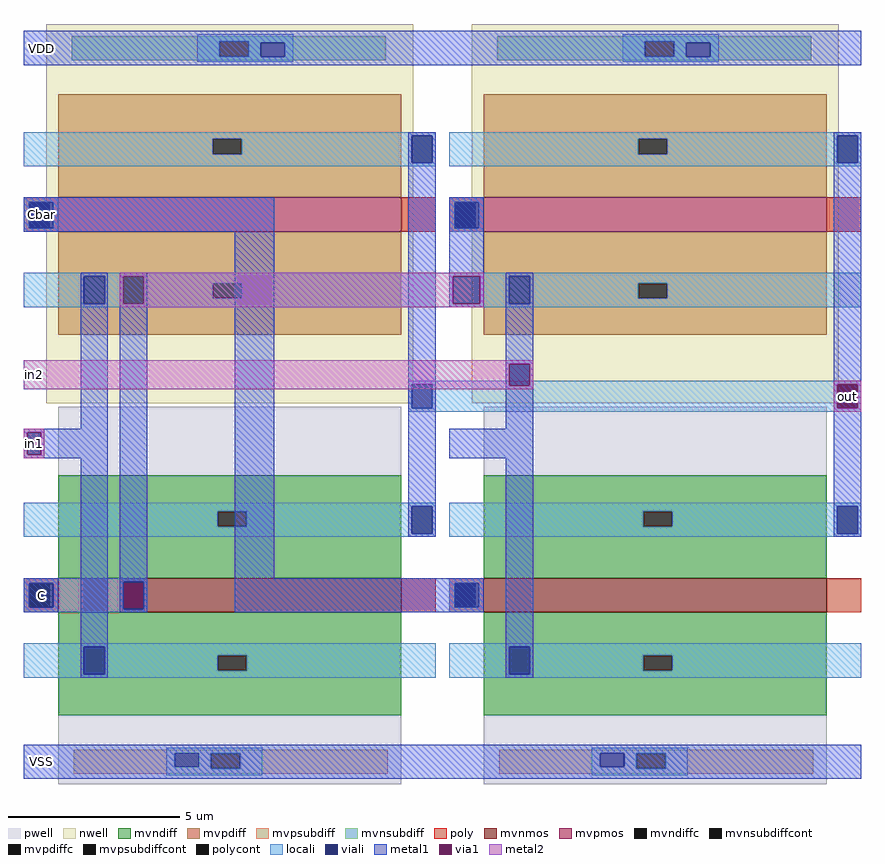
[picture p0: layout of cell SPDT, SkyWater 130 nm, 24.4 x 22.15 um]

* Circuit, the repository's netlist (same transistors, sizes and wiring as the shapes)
* SPICE3 file created from SPDT.ext - technology: sky130A

.subckt x5v_pfet_1_10 S G D B
X0 D G S B sky130_fd_pr__pfet_g5v0d10v5 ad=30 pd=26 as=30 ps=26 w=10 l=1
.ends

.subckt x5v_nfet_1_10 S G D B
X0 D G S B sky130_fd_pr__nfet_g5v0d10v5 ad=30 pd=26 as=30 ps=26 w=10 l=1
.ends

.subckt Tgate in out Cbar VDD VSS C
X5v_pfet_1_10_0 in Cbar out VDD x5v_pfet_1_10
X5v_nfet_1_10_0 out C in VSS x5v_nfet_1_10
.ends

.subckt SPDT in1 in2 out C Cbar VDD VSS
XTgate_0 in1 out Cbar VDD VSS C Tgate
XTgate_1 in2 out C VDD VSS Cbar Tgate
.ends

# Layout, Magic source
magic
tech sky130A
<< locali >>
rect 1120 1165 2440 1175
rect 1120 1095 1130 1165
rect 1190 1095 2370 1165
rect 2430 1095 2440 1165
rect 1120 1085 2440 1095
rect 0 590 360 600
rect 0 510 290 590
rect 350 510 360 590
rect 0 500 360 510
<< viali >>
rect 1130 1095 1190 1165
rect 2370 1095 2430 1165
rect 290 510 350 590
<< metal1 >>
rect 1145 2095 1325 2195
rect 0 1610 730 1710
rect 280 1480 360 1490
rect 280 1400 290 1480
rect 350 1400 360 1480
rect 280 590 360 1400
rect 280 510 290 590
rect 350 510 360 590
rect 280 500 360 510
rect 615 600 730 1610
rect 1240 1480 1340 1710
rect 1240 1400 1250 1480
rect 1330 1400 1340 1480
rect 1240 1390 1340 1400
rect 615 500 1340 600
rect 0 15 1325 115
<< via1 >>
rect 290 1400 350 1480
rect 10 960 50 1025
rect 1250 1400 1330 1480
rect 1415 1160 1475 1225
rect 2370 1095 2430 1165
<< metal2 >>
rect 280 1480 1340 1490
rect 280 1400 290 1480
rect 350 1400 1250 1480
rect 1330 1400 1340 1480
rect 280 1390 1340 1400
rect 0 1225 1485 1235
rect 0 1160 1415 1225
rect 1475 1160 1485 1225
rect 0 1150 1485 1160
rect 2360 1165 2440 1175
rect 2360 1095 2370 1165
rect 2430 1095 2440 1165
rect 2360 1085 2440 1095
rect 0 1025 60 1035
rect 0 960 10 1025
rect 50 960 60 1025
rect 0 950 60 960
use Tgate  Tgate_0
transform 1 0 0 0 1 0
box 0 0 1200 2215
use Tgate  Tgate_1
transform 1 0 1240 0 1 0
box 0 0 1200 2215
<< labels >>
rlabel metal2 0 950 60 1035 7 in1
port 1 w
rlabel metal2 0 1150 60 1235 7 in2
port 2 w
rlabel metal2 2360 1085 2440 1175 3 out
port 3 e
rlabel locali 0 500 100 600 7 C
port 4 w
rlabel metal1 0 1610 100 1710 7 Cbar
port 5 w
rlabel space 0 2095 100 2195 7 VDD
port 6 w
rlabel metal1 0 15 100 115 7 VSS
port 7 w
<< end >>

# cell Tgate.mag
magic
tech sky130A
<< polycont >>
rect 15 1620 75 1695
rect 15 515 75 585
<< locali >>
rect 0 1695 100 1710
rect 0 1620 15 1695
rect 85 1620 100 1695
rect 0 1610 100 1620
rect 0 585 100 600
rect 0 515 15 585
rect 85 515 100 585
rect 0 500 100 515
<< viali >>
rect 1130 1810 1190 1890
rect 15 1620 75 1695
rect 75 1620 85 1695
rect 175 1400 235 1480
rect 1130 730 1190 810
rect 15 515 75 585
rect 75 515 85 585
rect 175 320 235 400
<< metal1 >>
rect 1120 1890 1200 1900
rect 1120 1810 1130 1890
rect 1190 1810 1200 1890
rect 0 1695 100 1710
rect 0 1620 15 1695
rect 85 1620 100 1695
rect 0 1610 100 1620
rect 165 1480 245 1490
rect 165 1400 175 1480
rect 235 1400 245 1480
rect 165 1035 245 1400
rect 0 950 245 1035
rect 0 585 100 600
rect 0 515 15 585
rect 85 515 100 585
rect 0 500 100 515
rect 165 400 245 950
rect 1120 810 1200 1810
rect 1120 730 1130 810
rect 1190 730 1200 810
rect 1120 720 1200 730
rect 165 320 175 400
rect 235 320 245 400
rect 165 310 245 320
use 5v_nfet_1_10  5v_nfet_1_10_0
transform 0 1 100 -1 0 600
box -500 -100 600 1100
use 5v_pfet_1_10  5v_pfet_1_10_0
transform 0 -1 1100 1 0 1610
box -500 -100 605 1100
<< labels >>
rlabel metal1 0 950 70 1035 7 in
port 1 w
rlabel metal1 1120 945 1200 1030 3 out
port 2 e
rlabel metal1 0 500 85 600 7 C
port 3 w
rlabel metal1 0 1610 85 1710 7 Cbar
port 4 w
rlabel space 0 2095 85 2195 7 VDD
port 5 w
rlabel space 0 15 85 115 7 VSS
port 6 w
<< end >>

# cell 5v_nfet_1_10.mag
magic
tech sky130A
<< pwell >>
rect -500 0 600 1000
<< mvnmos >>
rect 0 0 100 1000
<< mvndiff >>
rect -300 550 0 1000
rect -300 465 -195 550
rect -150 465 0 550
rect -300 0 0 465
rect 100 550 400 1000
rect 100 465 225 550
rect 270 465 400 550
rect 100 0 400 465
<< mvndiffc >>
rect -195 465 -150 550
rect 225 465 270 550
<< mvpsubdiff >>
rect 500 530 570 960
rect 500 445 510 530
rect 555 445 570 530
rect 500 45 570 445
<< mvpsubdiffcont >>
rect 510 445 555 530
<< poly >>
rect 0 1000 100 1100
rect 0 -100 100 0
<< locali >>
rect -220 550 -120 1100
rect -220 465 -195 550
rect -150 465 -120 550
rect -220 -100 -120 465
rect 190 550 290 1100
rect 190 465 225 550
rect 270 465 290 550
rect 190 -100 290 465
rect 495 530 575 595
rect 495 445 510 530
rect 555 445 575 530
rect 495 410 575 445
rect 495 340 510 410
rect 550 340 575 410
rect 495 315 575 340
<< viali >>
rect 510 340 550 410
<< metal1 >>
rect 485 410 585 1100
rect 485 340 510 410
rect 550 340 585 410
rect 485 -100 585 340
<< labels >>
rlabel locali -185 1085 -185 1085 1 S
port 1 n
rlabel poly 50 1085 50 1085 1 G
port 2 n
rlabel locali 240 1070 240 1070 1 D
port 3 n
rlabel metal1 540 1070 540 1070 1 B
port 4 n
<< end >>

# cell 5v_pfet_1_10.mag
magic
tech sky130A
<< nwell >>
rect -500 -35 605 1035
<< mvpmos >>
rect 0 0 100 1000
<< mvpdiff >>
rect -300 550 0 1000
rect -300 465 -195 550
rect -150 465 0 550
rect -300 0 0 465
rect 100 550 400 1000
rect 100 465 225 550
rect 270 465 400 550
rect 100 0 400 465
<< mvpdiffc >>
rect -195 465 -150 550
rect 225 465 270 550
<< mvnsubdiff >>
rect 500 530 570 960
rect 500 445 510 530
rect 555 445 570 530
rect 500 45 570 445
<< mvnsubdiffcont >>
rect 510 445 555 530
<< poly >>
rect 0 1000 100 1100
rect 0 -100 100 0
<< locali >>
rect -220 550 -120 1100
rect -220 465 -195 550
rect -150 465 -120 550
rect -220 -100 -120 465
rect 190 550 290 1100
rect 190 465 225 550
rect 270 465 290 550
rect 190 -100 290 465
rect 495 530 575 595
rect 495 445 510 530
rect 555 445 575 530
rect 495 410 575 445
rect 495 340 510 410
rect 550 340 575 410
rect 495 315 575 340
<< viali >>
rect 510 340 550 410
<< metal1 >>
rect 485 410 585 1100
rect 485 340 510 410
rect 550 340 585 410
rect 485 -100 585 340
<< labels >>
rlabel locali -185 1085 -185 1085 1 S
port 1 n
rlabel poly 50 1085 50 1085 1 G
port 2 n
rlabel locali 240 1070 240 1070 1 D
port 3 n
rlabel metal1 540 1070 540 1070 1 B
port 4 n
<< end >>
